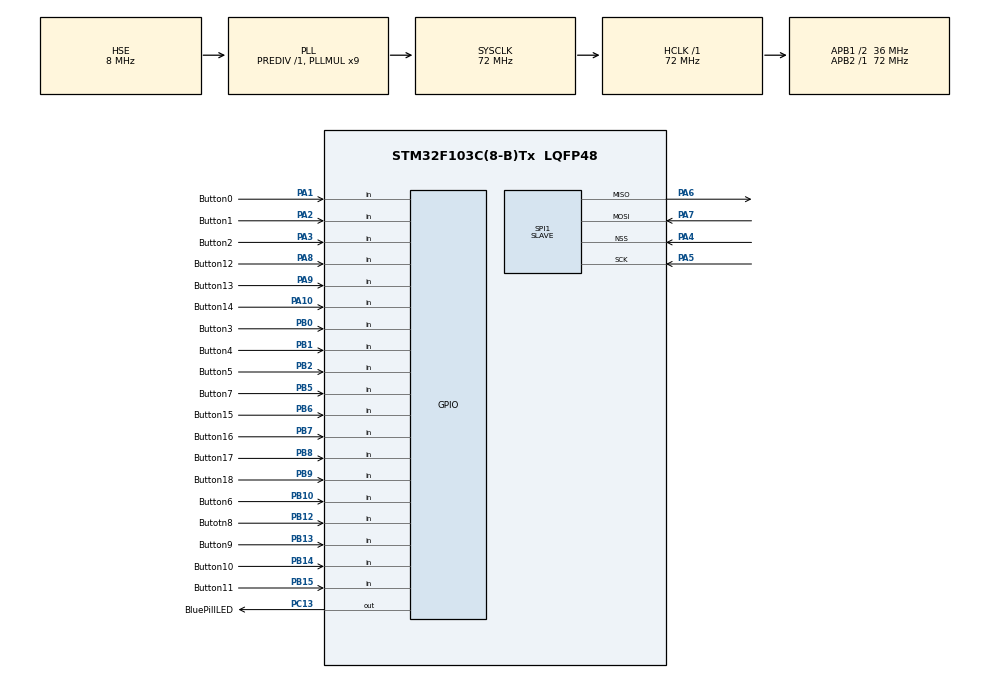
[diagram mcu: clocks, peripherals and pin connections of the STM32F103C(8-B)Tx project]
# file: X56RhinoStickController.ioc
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Mcu.Family=STM32F1
Mcu.Name=STM32F103C(8-B)Tx
Mcu.Package=LQFP48
NVIC.PriorityGroup=NVIC_PRIORITYGROUP_4
NVIC.SPI1_IRQn=true\:0\:0\:false\:false\:true\:true\:true\:true
PA1.GPIO_Label=Button0
PA1.GPIO_PuPd=GPIO_PULLUP
PA1.Signal=GPIO_Input
PA10.GPIO_Label=Button14
PA10.GPIO_PuPd=GPIO_PULLUP
PA10.Signal=GPIO_Input
PA13.Mode=Serial_Wire
PA13.Signal=SYS_JTMS-SWDIO
PA14.Mode=Serial_Wire
PA14.Signal=SYS_JTCK-SWCLK
PA2.GPIO_Label=Button1
PA2.GPIO_PuPd=GPIO_PULLUP
PA2.Signal=GPIO_Input
PA3.GPIO_Label=Button2
PA3.GPIO_PuPd=GPIO_PULLUP
PA3.Signal=GPIO_Input
PA4.Mode=NSS_Signal_Hard_Input
PA4.Signal=SPI1_NSS
PA5.Mode=Full_Duplex_Slave
PA5.Signal=SPI1_SCK
PA6.Mode=Full_Duplex_Slave
PA6.Signal=SPI1_MISO
PA7.Mode=Full_Duplex_Slave
PA7.Signal=SPI1_MOSI
PA8.GPIO_Label=Button12
PA8.GPIO_PuPd=GPIO_PULLUP
PA8.Signal=GPIO_Input
PA9.GPIO_Label=Button13
PA9.GPIO_PuPd=GPIO_PULLUP
PA9.Signal=GPIO_Input
PB0.GPIO_Label=Button3
PB0.GPIO_PuPd=GPIO_PULLUP
PB0.Signal=GPIO_Input
PB1.GPIO_Label=Button4
PB1.GPIO_PuPd=GPIO_PULLUP
PB1.Signal=GPIO_Input
PB10.GPIO_Label=Button6
PB10.GPIO_PuPd=GPIO_PULLUP
PB10.Signal=GPIO_Input
PB12.GPIO_Label=Butotn8
PB12.GPIO_PuPd=GPIO_PULLUP
PB12.Signal=GPIO_Input
PB13.GPIO_Label=Button9
PB13.GPIO_PuPd=GPIO_PULLUP
PB13.Signal=GPIO_Input
PB14.GPIO_Label=Button10
PB14.GPIO_PuPd=GPIO_PULLUP
PB14.Signal=GPIO_Input
PB15.GPIO_Label=Button11
PB15.GPIO_PuPd=GPIO_PULLUP
PB15.Signal=GPIO_Input
PB2.GPIO_Label=Button5
PB2.GPIO_PuPd=GPIO_PULLUP
PB2.Signal=GPIO_Input
PB5.GPIO_Label=Button7
PB5.GPIO_PuPd=GPIO_PULLUP
PB5.Signal=GPIO_Input
PB6.GPIO_Label=Button15
PB6.GPIO_PuPd=GPIO_PULLUP
PB6.Signal=GPIO_Input
PB7.GPIO_Label=Button16
PB7.GPIO_PuPd=GPIO_PULLUP
PB7.Signal=GPIO_Input
PB8.GPIO_Label=Button17
PB8.GPIO_PuPd=GPIO_PULLUP
PB8.Signal=GPIO_Input
PB9.GPIO_Label=Button18
PB9.GPIO_PuPd=GPIO_PULLUP
PB9.Signal=GPIO_Input
PC13-TAMPER-RTC.GPIO_Label=BluePillLED
PC13-TAMPER-RTC.GPIO_PuPd=GPIO_NOPULL
PC13-TAMPER-RTC.Signal=GPIO_Output
PD0-OSC_IN.Mode=HSE-External-Oscillator
PD0-OSC_IN.Signal=RCC_OSC_IN
PD1-OSC_OUT.Mode=HSE-External-Oscillator
PD1-OSC_OUT.Signal=RCC_OSC_OUT
ProjectManager.HeapSize=0x200
ProjectManager.StackSize=0x400
ProjectManager.TargetToolchain=STM32CubeIDE
RCC.AHBFreq_Value=72000000
RCC.APB1CLKDivider=RCC_HCLK_DIV2
RCC.APB1Freq_Value=36000000
RCC.APB1TimFreq_Value=72000000
RCC.APB2Freq_Value=72000000
RCC.APB2TimFreq_Value=72000000
RCC.HCLKFreq_Value=72000000
RCC.PLLMUL=RCC_PLL_MUL9
RCC.PLLSourceVirtual=RCC_PLLSOURCE_HSE
RCC.SYSCLKFreq_VALUE=72000000
RCC.SYSCLKSource=RCC_SYSCLKSOURCE_PLLCLK
RCC.USBFreq_Value=72000000
SPI1.Direction=SPI_DIRECTION_2LINES
SPI1.Mode=SPI_MODE_SLAVE
SPI1.VirtualNSS=VM_NSSHARD
SPI1.VirtualType=VM_SLAVE
board=custom

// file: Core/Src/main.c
/* USER CODE BEGIN Header */
/**
  ******************************************************************************
  * @file           : main.c
  * @brief          : Main program body
  ******************************************************************************
  * @attention
  *
  * Copyright (c) 2022 STMicroelectronics.
  * All rights reserved.
  *
  * This software is licensed under terms that can be found in the LICENSE file
  * in the root directory of this software component.
  * If no LICENSE file comes with this software, it is provided AS-IS.
  *
  ******************************************************************************
  */
/* USER CODE END Header */
#include "main.h"

 SPI_HandleTypeDef hspi1;

/* USER CODE BEGIN PV */
uint8_t buttons_state[3];
uint8_t spi_rx_buf[3];

/* USER CODE END PV */

void SystemClock_Config(void);
static void MX_GPIO_Init(void);
static void MX_SPI1_Init(void);

int main(void)
{

  /* MCU Configuration--------------------------------------------------------*/

  /* Reset of all peripherals, Initializes the Flash interface and the Systick. */
  HAL_Init();

  /* USER CODE BEGIN Init */
  buttons_state[0] = 0x0;
  buttons_state[1] = 0x0;
  buttons_state[2] = 0x0;

  /* USER CODE END Init */

  /* Configure the system clock */
  SystemClock_Config();

  /* Initialize all configured peripherals */
  MX_GPIO_Init();
  MX_SPI1_Init();

  /* Infinite loop */
  /* USER CODE BEGIN WHILE */
  while (1)
  {
		  uint8_t buttons_tmp = 0x00;
		  buttons_tmp |= !HAL_GPIO_ReadPin(Button0_GPIO_Port, Button0_Pin) << 7;
		  buttons_tmp |= !HAL_GPIO_ReadPin(Button1_GPIO_Port, Button1_Pin) << 6;
		  buttons_tmp |= !HAL_GPIO_ReadPin(Button2_GPIO_Port, Button2_Pin) << 5;
		  buttons_tmp |= !HAL_GPIO_ReadPin(Button3_GPIO_Port, Button3_Pin) << 4;
		  buttons_tmp |= !HAL_GPIO_ReadPin(Button4_GPIO_Port, Button4_Pin) << 3;
		  buttons_tmp |= !HAL_GPIO_ReadPin(Button5_GPIO_Port, Button5_Pin) << 2;
		  buttons_tmp |= !HAL_GPIO_ReadPin(Button6_GPIO_Port, Button6_Pin) << 1;
		  buttons_tmp |= !HAL_GPIO_ReadPin(Button7_GPIO_Port, Button7_Pin);

		  buttons_state[0] = 0xA0; //buttons_tmp;
		  buttons_tmp = 0;

		  buttons_tmp |= !HAL_GPIO_ReadPin(Butotn8_GPIO_Port, Butotn8_Pin) << 7;
		  buttons_tmp |= !HAL_GPIO_ReadPin(Button9_GPIO_Port, Button9_Pin) << 6;
		  buttons_tmp |= !HAL_GPIO_ReadPin(Button10_GPIO_Port, Button10_Pin) << 5;
		  buttons_tmp |= !HAL_GPIO_ReadPin(Button11_GPIO_Port, Button11_Pin) << 4;
		  buttons_tmp |= !HAL_GPIO_ReadPin(Button12_GPIO_Port, Button12_Pin) << 3;
		  buttons_tmp |= !HAL_GPIO_ReadPin(Button13_GPIO_Port, Button13_Pin) << 2;
		  buttons_tmp |= !HAL_GPIO_ReadPin(Button14_GPIO_Port, Button14_Pin) << 1;
		  //buttons_tmp |= !HAL_GPIO_ReadPin(Button15_GPIO_Port, Button15_Pin);

		  buttons_state[1] = 0xB0; //buttons_tmp;
		  buttons_tmp = 0;

		  buttons_tmp |= !HAL_GPIO_ReadPin(Button16_GPIO_Port, Button16_Pin) << 7;
		  buttons_tmp |= !HAL_GPIO_ReadPin(Button17_GPIO_Port, Button17_Pin) << 6;
		  buttons_tmp |= !HAL_GPIO_ReadPin(Button18_GPIO_Port, Button18_Pin) << 5;

		  buttons_state[2] = 0xC0; //buttons_tmp;
		  buttons_tmp = 0;

		  HAL_GPIO_WritePin(BluePillLED_GPIO_Port, BluePillLED_Pin, !buttons_state[0]);

		  HAL_StatusTypeDef res = HAL_SPI_TransmitReceive_IT(&hspi1, &buttons_state[0], &spi_rx_buf[0], 3);
		  if(res == HAL_ERROR) {
		  }

	  //}
    /* USER CODE END WHILE */

  }
}

void SystemClock_Config(void)
{
  RCC_OscInitTypeDef RCC_OscInitStruct = {0};
  RCC_ClkInitTypeDef RCC_ClkInitStruct = {0};

  /** Initializes the RCC Oscillators according to the specified parameters
  * in the RCC_OscInitTypeDef structure.
  */
  RCC_OscInitStruct.OscillatorType = RCC_OSCILLATORTYPE_HSE;
  RCC_OscInitStruct.HSEState = RCC_HSE_ON;
  RCC_OscInitStruct.HSEPredivValue = RCC_HSE_PREDIV_DIV1;
  RCC_OscInitStruct.HSIState = RCC_HSI_ON;
  RCC_OscInitStruct.PLL.PLLState = RCC_PLL_ON;
  RCC_OscInitStruct.PLL.PLLSource = RCC_PLLSOURCE_HSE;
  RCC_OscInitStruct.PLL.PLLMUL = RCC_PLL_MUL9;
  if (HAL_RCC_OscConfig(&RCC_OscInitStruct) != HAL_OK)
  {
    Error_Handler();
  }

  /** Initializes the CPU, AHB and APB buses clocks
  */
  RCC_ClkInitStruct.ClockType = RCC_CLOCKTYPE_HCLK|RCC_CLOCKTYPE_SYSCLK
                              |RCC_CLOCKTYPE_PCLK1|RCC_CLOCKTYPE_PCLK2;
  RCC_ClkInitStruct.SYSCLKSource = RCC_SYSCLKSOURCE_PLLCLK;
  RCC_ClkInitStruct.AHBCLKDivider = RCC_SYSCLK_DIV1;
  RCC_ClkInitStruct.APB1CLKDivider = RCC_HCLK_DIV2;
  RCC_ClkInitStruct.APB2CLKDivider = RCC_HCLK_DIV1;

  if (HAL_RCC_ClockConfig(&RCC_ClkInitStruct, FLASH_LATENCY_2) != HAL_OK)
  {
    Error_Handler();
  }
}

static void MX_SPI1_Init(void)
{

  /* USER CODE BEGIN SPI1_Init 1 */
  hspi1.pRxBuffPtr = &spi_rx_buf[0];
  hspi1.pTxBuffPtr = &buttons_state[0];

  /* USER CODE END SPI1_Init 1 */
  /* SPI1 parameter configuration*/
  hspi1.Instance = SPI1;
  hspi1.Init.Mode = SPI_MODE_SLAVE;
  hspi1.Init.Direction = SPI_DIRECTION_2LINES;
  hspi1.Init.DataSize = SPI_DATASIZE_8BIT;
  hspi1.Init.CLKPolarity = SPI_POLARITY_LOW;
  hspi1.Init.CLKPhase = SPI_PHASE_1EDGE;
  hspi1.Init.NSS = SPI_NSS_HARD_INPUT;
  hspi1.Init.FirstBit = SPI_FIRSTBIT_MSB;
  hspi1.Init.TIMode = SPI_TIMODE_DISABLE;
  hspi1.Init.CRCCalculation = SPI_CRCCALCULATION_DISABLE;
  hspi1.Init.CRCPolynomial = 10;
  if (HAL_SPI_Init(&hspi1) != HAL_OK)
  {
    Error_Handler();
  }

}

static void MX_GPIO_Init(void)
{
  GPIO_InitTypeDef GPIO_InitStruct = {0};

  /* GPIO Ports Clock Enable */
  __HAL_RCC_GPIOC_CLK_ENABLE();
  __HAL_RCC_GPIOD_CLK_ENABLE();
  __HAL_RCC_GPIOA_CLK_ENABLE();
  __HAL_RCC_GPIOB_CLK_ENABLE();

  /*Configure GPIO pin Output Level */
  HAL_GPIO_WritePin(BluePillLED_GPIO_Port, BluePillLED_Pin, GPIO_PIN_RESET);

  /*Configure GPIO pin : BluePillLED_Pin */
  GPIO_InitStruct.Pin = BluePillLED_Pin;
  GPIO_InitStruct.Mode = GPIO_MODE_OUTPUT_PP;
  GPIO_InitStruct.Pull = GPIO_NOPULL;
  GPIO_InitStruct.Speed = GPIO_SPEED_FREQ_LOW;
  HAL_GPIO_Init(BluePillLED_GPIO_Port, &GPIO_InitStruct);

  /*Configure GPIO pins : Button0_Pin Button1_Pin Button2_Pin Button12_Pin
                           Button13_Pin Button14_Pin */
  GPIO_InitStruct.Pin = Button0_Pin|Button1_Pin|Button2_Pin|Button12_Pin
                          |Button13_Pin|Button14_Pin;
  GPIO_InitStruct.Mode = GPIO_MODE_INPUT;
  GPIO_InitStruct.Pull = GPIO_PULLUP;
  HAL_GPIO_Init(GPIOA, &GPIO_InitStruct);

  /*Configure GPIO pins : Button3_Pin Button4_Pin Button5_Pin Button6_Pin
                           Butotn8_Pin Button9_Pin Button10_Pin Button11_Pin
                           Button7_Pin Button15_Pin Button16_Pin Button17_Pin
                           Button18_Pin */
  GPIO_InitStruct.Pin = Button3_Pin|Button4_Pin|Button5_Pin|Button6_Pin
                          |Butotn8_Pin|Button9_Pin|Button10_Pin|Button11_Pin
                          |Button7_Pin|Button15_Pin|Button16_Pin|Button17_Pin
                          |Button18_Pin;
  GPIO_InitStruct.Mode = GPIO_MODE_INPUT;
  GPIO_InitStruct.Pull = GPIO_PULLUP;
  HAL_GPIO_Init(GPIOB, &GPIO_InitStruct);

}

/* USER CODE BEGIN 4 */
void HAL_SPI_TxRxCpltCallback(SPI_HandleTypeDef *hspi) {
	buttons_state[0]++;

}
/* USER CODE END 4 */

void Error_Handler(void)
{
  __disable_irq();
  while (1)
  {
  }
}
